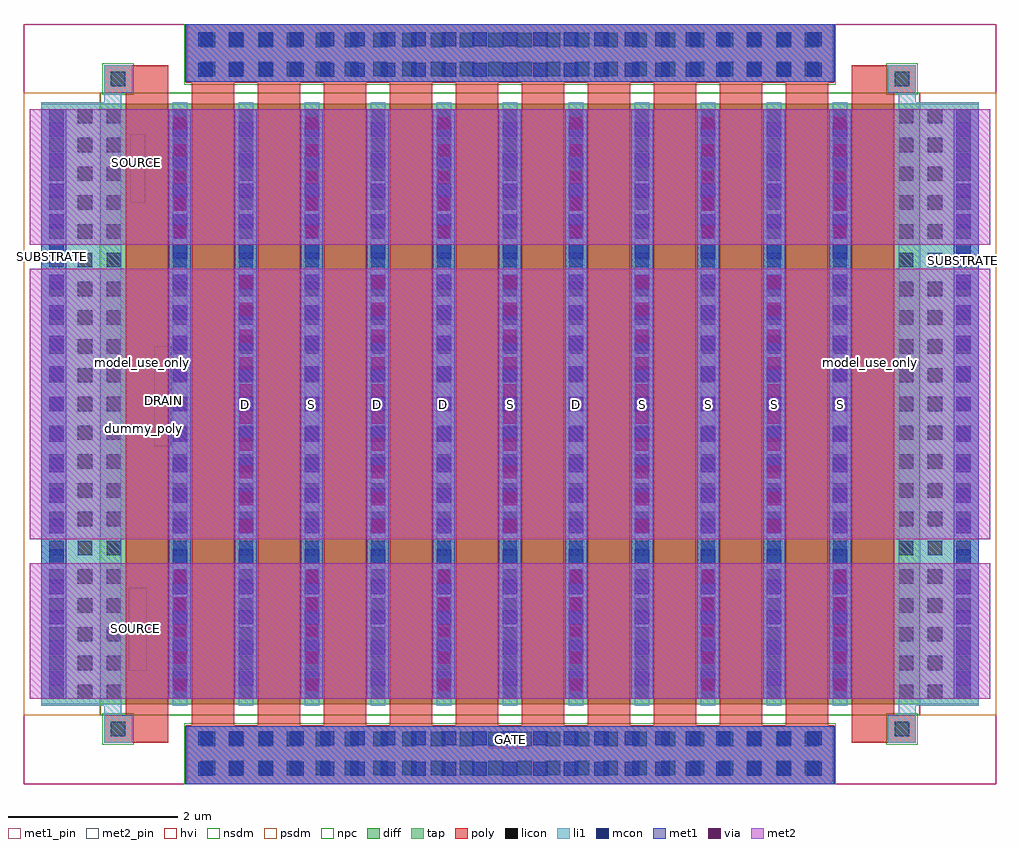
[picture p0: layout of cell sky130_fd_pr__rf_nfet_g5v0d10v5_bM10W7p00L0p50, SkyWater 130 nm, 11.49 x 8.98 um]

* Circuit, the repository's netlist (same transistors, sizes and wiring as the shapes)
* Copyright 2020 The SkyWater PDK Authors
*
* Licensed under the Apache License, Version 2.0 (the "License");
* you may not use this file except in compliance with the License.
* You may obtain a copy of the License at
*
*     https://www.apache.org/licenses/LICENSE-2.0
*
* Unless required by applicable law or agreed to in writing, software
* distributed under the License is distributed on an "AS IS" BASIS,
* WITHOUT WARRANTIES OR CONDITIONS OF ANY KIND, either express or implied.
* See the License for the specific language governing permissions and
* limitations under the License.
*
* SPDX-License-Identifier: Apache-2.0


.subckt sky130_fd_pr__rf_nfet_g5v0d10v5_bM10W7p00L0p50 DRAIN GATE SOURCE SUBSTRATE
X0 SOURCE GATE DRAIN SUBSTRATE sky130_fd_pr__nfet_g5v0d10v5 w=7.09e+06u l=500000u
X1 SOURCE GATE DRAIN SUBSTRATE sky130_fd_pr__nfet_g5v0d10v5 w=7.09e+06u l=500000u
X2 DRAIN GATE SOURCE SUBSTRATE sky130_fd_pr__nfet_g5v0d10v5 w=7.09e+06u l=500000u
X3 DRAIN GATE SOURCE SUBSTRATE sky130_fd_pr__nfet_g5v0d10v5 w=7.09e+06u l=500000u
X4 DRAIN GATE SOURCE SUBSTRATE sky130_fd_pr__nfet_g5v0d10v5 w=7.09e+06u l=500000u
X5 DRAIN GATE SOURCE SUBSTRATE sky130_fd_pr__nfet_g5v0d10v5 w=7.09e+06u l=500000u
X6 DRAIN GATE SOURCE SUBSTRATE sky130_fd_pr__nfet_g5v0d10v5 w=7.09e+06u l=500000u
X7 SUBSTRATE SUBSTRATE SOURCE SUBSTRATE sky130_fd_pr__nfet_g5v0d10v5 w=7.09e+06u l=500000u
X8 SOURCE SUBSTRATE SUBSTRATE SUBSTRATE sky130_fd_pr__nfet_g5v0d10v5 w=7.09e+06u l=500000u
X9 SOURCE GATE DRAIN SUBSTRATE sky130_fd_pr__nfet_g5v0d10v5 w=7.09e+06u l=500000u
X10 SOURCE GATE DRAIN SUBSTRATE sky130_fd_pr__nfet_g5v0d10v5 w=7.09e+06u l=500000u
X11 SOURCE GATE DRAIN SUBSTRATE sky130_fd_pr__nfet_g5v0d10v5 w=7.09e+06u l=500000u
.ends

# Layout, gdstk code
import gdstk
lib = gdstk.Library(unit=1e-6, precision=1e-09)
def R(c, l, rs):  # rectangles x0, y0, x1, y1
    for r in rs: c.add(gdstk.rectangle(r[:2], r[2:], *l))
def A(c, l, x, y, w, h, nx, ny, dx, dy):  # array of equal rectangles
    R(c, l, [(x+i*dx, y+j*dy, x+i*dx+w, y+j*dy+h) for i in range(nx) for j in range(ny)])
diff = (65, 20)
tap = (65, 44)
poly = (66, 20)
licon = (66, 44)
li1 = (67, 20)
mcon = (67, 44)
met1_pin = (68, 16)
met1 = (68, 20)
via = (68, 44)
met2_pin = (69, 16)
met2 = (69, 20)
hvi = (75, 20)
nsdm = (93, 44)
psdm = (94, 20)
npc = (95, 20)

sky130_fd_pr__rf_nfet_g5 = lib.new_cell('sky130_fd_pr__rf_nfet_g5v0d10v5_bM10W7p00L0p50')
R(sky130_fd_pr__rf_nfet_g5, diff, [(0.905,0.945,10.585,8.035)])
R(sky130_fd_pr__rf_nfet_g5, tap, [(0.205,0.945,0.905,8.035), (10.585,0.945,11.285,8.035)])
A(sky130_fd_pr__rf_nfet_g5, poly, 1.985, 0.695, 0.5, 7.59, 10, 1, 0.78, 0)
R(sky130_fd_pr__rf_nfet_g5, poly, [(1.915,0,9.575,0.695), (0.95,0.485,1.28,0.815), (1.205,0.485,1.705,8.495), (9.785,0.485,10.285,8.495), (10.21,0.485,10.54,0.815), (0.95,8.165,1.28,8.495), (10.21,8.165,10.54,8.495), (1.915,8.285,9.575,8.98)])
A(sky130_fd_pr__rf_nfet_g5, licon, 2.09, 0.105, 0.17, 0.17, 22, 2, 0.34, 0.34)
A(sky130_fd_pr__rf_nfet_g5, licon, 0.3, 1.005, 0.17, 0.17, 3, 21, 0.34, 0.34)
A(sky130_fd_pr__rf_nfet_g5, licon, 1.76, 1.005, 0.17, 0.17, 12, 21, 0.78, 0.34)
A(sky130_fd_pr__rf_nfet_g5, licon, 10.68, 1.005, 0.17, 0.17, 1, 21, 0, 0.34)
A(sky130_fd_pr__rf_nfet_g5, licon, 11.02, 1.005, 0.17, 0.17, 1, 21, 0, 0.34)
A(sky130_fd_pr__rf_nfet_g5, licon, 2.09, 8.365, 0.17, 0.17, 22, 2, 0.34, 0.34)
R(sky130_fd_pr__rf_nfet_g5, licon, [(1.03,0.565,1.2,0.735), (10.29,0.565,10.46,0.735), (1.03,8.245,1.2,8.415), (10.29,8.245,10.46,8.415)])
A(sky130_fd_pr__rf_nfet_g5, li1, 1.76, 0.925, 0.17, 7.13, 11, 1, 0.78, 0)
A(sky130_fd_pr__rf_nfet_g5, li1, 1.76, 3.145, 0.17, 2.69, 11, 1, 0.78, 0)
R(sky130_fd_pr__rf_nfet_g5, li1, [(1.925,0,9.565,0.685), (0.95,0.485,1.28,0.815), (10.21,0.485,10.54,0.815), (0.95,0.815,1.15,0.925), (10.34,0.815,10.54,0.925), (0.205,0.925,1.15,8.055), (10.34,0.925,11.285,8.055), (0.95,8.055,1.15,8.165), (10.34,8.055,10.54,8.165), (0.95,8.165,1.28,8.495), (10.21,8.165,10.54,8.495), (1.925,8.295,9.565,8.98)])
A(sky130_fd_pr__rf_nfet_g5, mcon, 2.06, 0.095, 0.17, 0.17, 21, 2, 0.36, 0.36)
A(sky130_fd_pr__rf_nfet_g5, mcon, 0.3, 1.165, 0.17, 0.17, 1, 19, 0, 0.36)
A(sky130_fd_pr__rf_nfet_g5, mcon, 1.76, 1.165, 0.17, 0.17, 11, 19, 0.78, 0.36)
A(sky130_fd_pr__rf_nfet_g5, mcon, 11.02, 1.165, 0.17, 0.17, 1, 19, 0, 0.36)
A(sky130_fd_pr__rf_nfet_g5, mcon, 2.06, 8.355, 0.17, 0.17, 21, 2, 0.36, 0.36)
R(sky130_fd_pr__rf_nfet_g5, met1_pin, [(5.49,0.425,5.975,0.6), (10.99,6.105,11.285,6.255), (0.205,6.155,0.5,6.305), (5.48,8.365,6.09,8.53)])
A(sky130_fd_pr__rf_nfet_g5, met1, 1.715, 1.01, 0.26, 1.6, 6, 2, 1.56, 5.36)
A(sky130_fd_pr__rf_nfet_g5, met1, 1.715, 1.01, 0.26, 6.96, 11, 1, 0.78, 0)
A(sky130_fd_pr__rf_nfet_g5, met1, 2.495, 2.89, 0.26, 3.2, 5, 1, 1.56, 0)
R(sky130_fd_pr__rf_nfet_g5, met1, [(1.905,0,9.585,0.685), (0.205,1.01,0.5,7.97), (10.99,1.01,11.285,7.97), (1.905,8.295,9.585,8.98)])
A(sky130_fd_pr__rf_nfet_g5, via, 1.77, 1.095, 0.15, 0.15, 6, 5, 1.56, 0.32)
A(sky130_fd_pr__rf_nfet_g5, via, 2.55, 2.975, 0.15, 0.15, 5, 10, 1.56, 0.32)
A(sky130_fd_pr__rf_nfet_g5, via, 1.77, 6.455, 0.15, 0.15, 6, 5, 1.56, 0.32)
R(sky130_fd_pr__rf_nfet_g5, met2_pin, [(1.24,1.34,1.45,2.32), (1.54,3.99,1.745,5.17), (1.255,6.87,1.435,7.675)])
A(sky130_fd_pr__rf_nfet_g5, met2, 1.715, 1.01, 0.26, 1.6, 6, 2, 1.56, 5.36)
A(sky130_fd_pr__rf_nfet_g5, met2, 2.495, 2.89, 0.26, 3.2, 5, 1, 1.56, 0)
R(sky130_fd_pr__rf_nfet_g5, met2, [(0.07,1.01,11.42,2.61), (0.07,2.89,11.42,6.09), (0.07,6.37,11.42,7.97)])
R(sky130_fd_pr__rf_nfet_g5, hvi, [(0,0,11.49,8.98)])
R(sky130_fd_pr__rf_nfet_g5, nsdm, [(0.905,0.815,10.585,8.165)])
R(sky130_fd_pr__rf_nfet_g5, psdm, [(0,0.815,0.905,8.165), (10.585,0.815,11.49,8.165)])
R(sky130_fd_pr__rf_nfet_g5, npc, [(1.895,0,9.595,0.715), (0.93,0.465,1.3,0.835), (10.19,0.465,10.56,0.835), (0.93,8.145,1.3,8.515), (10.19,8.145,10.56,8.515), (1.895,8.265,9.595,8.98)])
sky130_fd_pr__rf_nfet_g5.add(gdstk.Label('GATE', (5.745,0.52), layer=68, texttype=5))
sky130_fd_pr__rf_nfet_g5.add(gdstk.Label('SOURCE', (1.335,7.345), layer=69, texttype=5))
sky130_fd_pr__rf_nfet_g5.add(gdstk.Label('DRAIN', (1.645,4.53), layer=69, texttype=5))
sky130_fd_pr__rf_nfet_g5.add(gdstk.Label('SOURCE', (1.32,1.84), layer=69, texttype=5))
sky130_fd_pr__rf_nfet_g5.add(gdstk.Label('SUBSTRATE', (11.1,6.185), layer=68, texttype=16))
sky130_fd_pr__rf_nfet_g5.add(gdstk.Label('SUBSTRATE', (0.335,6.235), layer=68, texttype=16))
sky130_fd_pr__rf_nfet_g5.add(gdstk.Label('S', (9.645,4.49), layer=83, texttype=44))
sky130_fd_pr__rf_nfet_g5.add(gdstk.Label('S', (8.865,4.49), layer=83, texttype=44))
sky130_fd_pr__rf_nfet_g5.add(gdstk.Label('D', (8.865,4.49), layer=83, texttype=44))
sky130_fd_pr__rf_nfet_g5.add(gdstk.Label('S', (8.085,4.49), layer=83, texttype=44))
sky130_fd_pr__rf_nfet_g5.add(gdstk.Label('S', (8.085,4.49), layer=83, texttype=44))
sky130_fd_pr__rf_nfet_g5.add(gdstk.Label('S', (7.305,4.49), layer=83, texttype=44))
sky130_fd_pr__rf_nfet_g5.add(gdstk.Label('D', (7.305,4.49), layer=83, texttype=44))
sky130_fd_pr__rf_nfet_g5.add(gdstk.Label('D', (6.525,4.49), layer=83, texttype=44))
sky130_fd_pr__rf_nfet_g5.add(gdstk.Label('S', (6.525,4.49), layer=83, texttype=44))
sky130_fd_pr__rf_nfet_g5.add(gdstk.Label('S', (5.745,4.49), layer=83, texttype=44))
sky130_fd_pr__rf_nfet_g5.add(gdstk.Label('S', (5.745,4.49), layer=83, texttype=44))
sky130_fd_pr__rf_nfet_g5.add(gdstk.Label('D', (4.965,4.49), layer=83, texttype=44))
sky130_fd_pr__rf_nfet_g5.add(gdstk.Label('S', (4.965,4.49), layer=83, texttype=44))
sky130_fd_pr__rf_nfet_g5.add(gdstk.Label('D', (4.185,4.49), layer=83, texttype=44))
sky130_fd_pr__rf_nfet_g5.add(gdstk.Label('S', (4.185,4.49), layer=83, texttype=44))
sky130_fd_pr__rf_nfet_g5.add(gdstk.Label('S', (3.405,4.49), layer=83, texttype=44))
sky130_fd_pr__rf_nfet_g5.add(gdstk.Label('S', (3.405,4.49), layer=83, texttype=44))
sky130_fd_pr__rf_nfet_g5.add(gdstk.Label('D', (2.625,4.49), layer=83, texttype=44))
sky130_fd_pr__rf_nfet_g5.add(gdstk.Label('S', (2.625,4.49), layer=83, texttype=44))
sky130_fd_pr__rf_nfet_g5.add(gdstk.Label('S', (1.845,4.49), layer=83, texttype=44))
sky130_fd_pr__rf_nfet_g5.add(gdstk.Label('S', (1.845,4.49), layer=83, texttype=44))
sky130_fd_pr__rf_nfet_g5.add(gdstk.Label('dummy_poly', (10.01,4.335), layer=83, texttype=44))
sky130_fd_pr__rf_nfet_g5.add(gdstk.Label('dummy_poly', (1.415,4.2), layer=83, texttype=44))
sky130_fd_pr__rf_nfet_g5.add(gdstk.Label('model_use_only', (2.21,4.6), layer=66, texttype=83))
sky130_fd_pr__rf_nfet_g5.add(gdstk.Label('model_use_only', (2.975,4.645), layer=66, texttype=83))
sky130_fd_pr__rf_nfet_g5.add(gdstk.Label('model_use_only', (3.75,4.57), layer=66, texttype=83))
sky130_fd_pr__rf_nfet_g5.add(gdstk.Label('model_use_only', (4.555,4.645), layer=66, texttype=83))
sky130_fd_pr__rf_nfet_g5.add(gdstk.Label('model_use_only', (5.3,4.615), layer=66, texttype=83))
sky130_fd_pr__rf_nfet_g5.add(gdstk.Label('model_use_only', (6.09,4.585), layer=66, texttype=83))
sky130_fd_pr__rf_nfet_g5.add(gdstk.Label('model_use_only', (6.91,4.63), layer=66, texttype=83))
sky130_fd_pr__rf_nfet_g5.add(gdstk.Label('model_use_only', (7.67,4.615), layer=66, texttype=83))
sky130_fd_pr__rf_nfet_g5.add(gdstk.Label('model_use_only', (8.46,4.6), layer=66, texttype=83))
sky130_fd_pr__rf_nfet_g5.add(gdstk.Label('model_use_only', (9.205,4.54), layer=66, texttype=83))
sky130_fd_pr__rf_nfet_g5.add(gdstk.Label('model_use_only', (1.4,4.975), layer=66, texttype=83))
sky130_fd_pr__rf_nfet_g5.add(gdstk.Label('model_use_only', (10.01,4.975), layer=66, texttype=83))

lib.write_gds('sky130_fd_pr__rf_nfet_g5v0d10v5_bM10W7p00L0p50.gds')
